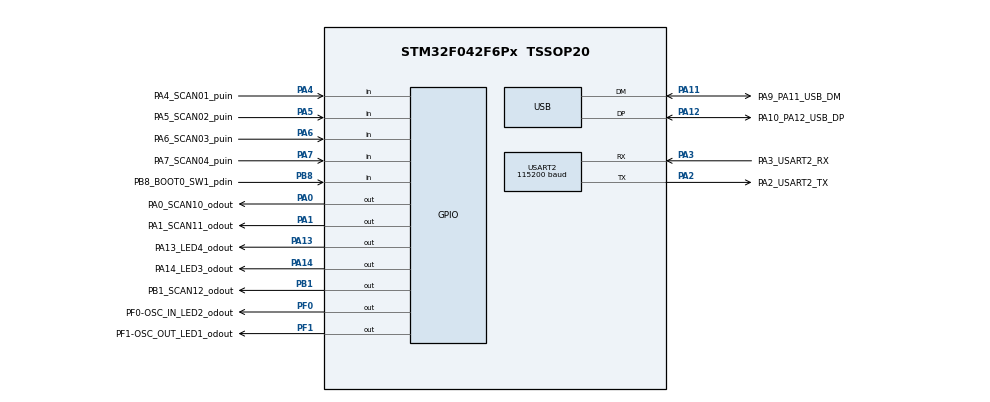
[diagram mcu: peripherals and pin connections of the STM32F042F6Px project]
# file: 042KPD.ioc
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Dma.Request0=USART2_RX
Dma.Request1=USART2_TX
Dma.USART2_RX.0.Direction=DMA_PERIPH_TO_MEMORY
Dma.USART2_RX.0.Instance=DMA1_Channel5
Dma.USART2_RX.0.MemDataAlignment=DMA_MDATAALIGN_BYTE
Dma.USART2_RX.0.MemInc=DMA_MINC_ENABLE
Dma.USART2_RX.0.Mode=DMA_CIRCULAR
Dma.USART2_RX.0.PeriphDataAlignment=DMA_PDATAALIGN_BYTE
Dma.USART2_RX.0.PeriphInc=DMA_PINC_DISABLE
Dma.USART2_RX.0.Priority=DMA_PRIORITY_LOW
Dma.USART2_TX.1.Direction=DMA_MEMORY_TO_PERIPH
Dma.USART2_TX.1.Instance=DMA1_Channel4
Dma.USART2_TX.1.MemDataAlignment=DMA_MDATAALIGN_BYTE
Dma.USART2_TX.1.MemInc=DMA_MINC_ENABLE
Dma.USART2_TX.1.Mode=DMA_NORMAL
Dma.USART2_TX.1.PeriphDataAlignment=DMA_PDATAALIGN_BYTE
Dma.USART2_TX.1.PeriphInc=DMA_PINC_DISABLE
Dma.USART2_TX.1.Priority=DMA_PRIORITY_LOW
Mcu.Family=STM32F0
Mcu.Name=STM32F042F6Px
Mcu.Package=TSSOP20
NVIC.DMA1_Channel4_5_IRQn=true\:0\:0\:false\:false\:true\:false\:true\:true
NVIC.USB_IRQn=true\:0\:0\:false\:false\:true\:false\:true\:true
PA0.GPIO_Label=PA0_SCAN10_odout
PA0.GPIO_ModeDefaultOutputPP=GPIO_MODE_OUTPUT_OD
PA0.GPIO_PuPd=GPIO_PULLUP
PA0.GPIO_Speed=GPIO_SPEED_FREQ_LOW
PA0.PinState=GPIO_PIN_RESET
PA0.Signal=GPIO_Output
PA1.GPIO_Label=PA1_SCAN11_odout
PA1.GPIO_ModeDefaultOutputPP=GPIO_MODE_OUTPUT_OD
PA1.GPIO_PuPd=GPIO_PULLUP
PA1.GPIO_Speed=GPIO_SPEED_FREQ_LOW
PA1.PinState=GPIO_PIN_SET
PA1.Signal=GPIO_Output
PA11.GPIO_Label=PA9_PA11_USB_DM
PA11.Mode=Device
PA11.Signal=USB_DM
PA12.GPIO_Label=PA10_PA12_USB_DP
PA12.Mode=Device
PA12.Signal=USB_DP
PA13.GPIO_Label=PA13_LED4_odout
PA13.GPIO_ModeDefaultOutputPP=GPIO_MODE_OUTPUT_OD
PA13.GPIO_PuPd=GPIO_NOPULL
PA13.Signal=GPIO_Output
PA14.GPIO_Label=PA14_LED3_odout
PA14.GPIO_ModeDefaultOutputPP=GPIO_MODE_OUTPUT_OD
PA14.GPIO_PuPd=GPIO_NOPULL
PA14.Signal=GPIO_Output
PA2.GPIO_Label=PA2_USART2_TX
PA2.Mode=Asynchronous
PA2.Signal=USART2_TX
PA3.GPIO_Label=PA3_USART2_RX
PA3.GPIO_PuPd=GPIO_PULLUP
PA3.Mode=Asynchronous
PA3.Signal=USART2_RX
PA4.GPIO_Label=PA4_SCAN01_puin
PA4.GPIO_PuPd=GPIO_PULLUP
PA4.Signal=GPIO_Input
PA5.GPIO_Label=PA5_SCAN02_puin
PA5.GPIO_PuPd=GPIO_PULLUP
PA5.Signal=GPIO_Input
PA6.GPIO_Label=PA6_SCAN03_puin
PA6.GPIO_PuPd=GPIO_PULLUP
PA6.Signal=GPIO_Input
PA7.GPIO_Label=PA7_SCAN04_puin
PA7.GPIO_PuPd=GPIO_PULLUP
PA7.Signal=GPIO_Input
PB1.GPIO_Label=PB1_SCAN12_odout
PB1.GPIO_ModeDefaultOutputPP=GPIO_MODE_OUTPUT_OD
PB1.GPIO_PuPd=GPIO_PULLUP
PB1.PinState=GPIO_PIN_SET
PB1.Signal=GPIO_Output
PB8.GPIO_Label=PB8_BOOT0_SW1_pdin
PB8.GPIO_PuPd=GPIO_PULLDOWN
PB8.Signal=GPIO_Input
PF0-OSC_IN.GPIO_Label=PF0-OSC_IN_LED2_odout
PF0-OSC_IN.GPIO_ModeDefaultOutputPP=GPIO_MODE_OUTPUT_OD
PF0-OSC_IN.GPIO_PuPd=GPIO_NOPULL
PF0-OSC_IN.Signal=GPIO_Output
PF1-OSC_OUT.GPIO_Label=PF1-OSC_OUT_LED1_odout
PF1-OSC_OUT.GPIO_ModeDefaultOutputPP=GPIO_MODE_OUTPUT_OD
PF1-OSC_OUT.GPIO_PuPd=GPIO_NOPULL
PF1-OSC_OUT.Signal=GPIO_Output
ProjectManager.HeapSize=0x200
ProjectManager.StackSize=0x400
ProjectManager.TargetToolchain=CMake
RCC.AHBFreq_Value=48000000
RCC.APB1Freq_Value=48000000
RCC.APB1TimFreq_Value=48000000
RCC.HCLKFreq_Value=48000000
RCC.PLLDivider=RCC_PREDIV_DIV2
RCC.PLLSourceVirtual=RCC_PLLSOURCE_HSI48
RCC.SYSCLKFreq_VALUE=48000000
RCC.SYSCLKSource=RCC_SYSCLKSOURCE_HSI48
RCC.TimSys_Div=SYSTICK_CLKSOURCE_HCLK_DIV8
USART2.BaudRate=115200
USART2.VirtualMode-Asynchronous=VM_ASYNC
USB_DEVICE.CLASS_NAME_FS=HID
USB_DEVICE.HID_FS_BINTERVAL=4
USB_DEVICE.MANUFACTURER_STRING=Raretem
USB_DEVICE.PRODUCT_STRING_HID_FS=Raretem USB keypad
USB_DEVICE.USBD_SELF_POWERED=0
USB_DEVICE.VirtualMode=Hid
USB_DEVICE.VirtualModeFS=Hid_FS
VP_CRC_VS_CRC.Mode=CRC_Activate
VP_RCC_USB.Mode=CRS SYNC Source USB
VP_SYS_VS_PINREMAP.Mode=PINREMAP
VP_USB_DEVICE_VS_USB_DEVICE_HID_FS.Mode=HID_FS
board=custom

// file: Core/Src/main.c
/* USER CODE BEGIN Header */
/**
 ******************************************************************************
 * @file           : main.c
 * @brief          : Main program body
 ******************************************************************************
 * @attention
 *
 * Copyright (c) 2026 STMicroelectronics.
 * All rights reserved.
 *
 * This software is licensed under terms that can be found in the LICENSE file
 * in the root directory of this software component.
 * If no LICENSE file comes with this software, it is provided AS-IS.
 *
 ******************************************************************************
 */
/* USER CODE END Header */
#include "main.h"
#include "gpio.h"
#include "usart.h"
#include "usb_device.h"

#include "buildDate.h"
#include "usbd_hid.h"

/* USER CODE BEGIN PV */
extern	volatile	USBD_HandleTypeDef	hUsbDeviceFS;

///	Human Interface Devices (HID) Specifications and Tools
///	https://www.usb.org/hid
/// 	https://usb.org/document-library/hid-usage-tables-17
///			https://usb.org/sites/default/files/hut1_7.pdf
uint8_t 	codeTable[3][12] = {
	{	0x49, 0x4a, 0x4b,		///	Ins    Home   PgUp
		0x4c, 0x4d, 0x4e,		///	Del    End    PgDn
		0xe0, 0x52, 0xe1,		///	Lctrl  ↑      Lshift
		0x50, 0x51, 0x4f	},	///	←      ↓      →

	{	0x24, 0x25, 0x26,		///	7&     8*     9(
		0x21, 0x22, 0x23,		///	4$     5%     6^
		0x1e, 0x1f, 0x20,		///	1!     2@     3#
		0x2a, 0x27, 0x28	},	///	BkSp   0)     Enter

	{	0x43, 0x44, 0x45,		///	F10    F11    F12
		0x40, 0x41, 0x42,		///	F7     F8     F9
		0x3d, 0x3e, 0x3f,		///	F4     F5     F6
		0x3a, 0x3b, 0x3c	},	///	F1     F2     F3
};

volatile	uint8_t 	usbSOFflag,	///	++ed in USB SOF (USBD_LL_SOF() in usbd_core.c)
						lockLED;	///	Num Lock, Caps Lock, Scroll Lock, ... (USBD_HID_Init(), usbdHIDdataOut() in usbd_hid.c)
uint8_t 	u8, v8, prevLled, scanline, kbuf[12], mbuf, keyMode, usartBuf[16];
uint16_t	keyStat, prevKstat;
uint32_t	sysID, eTme;
uint64_t	reportBuff;

/* USER CODE END PV */

void SystemClock_Config(void);

int main(void)
{

/* Reset of all peripherals, Initializes the Flash interface and the Systick. */
	HAL_Init();

/* Configure the system clock */
	SystemClock_Config();

/* USER CODE BEGIN SysInit */
	SysTick->CTRL = 0;	///	Disable sysTick
/* USER CODE END SysInit */

/* Initialize all configured peripherals */
	MX_GPIO_Init();	///	All LEDs ON, Prepare for first scan

	__HAL_RCC_DMA1_CLK_ENABLE();	///MX_DMA_Init();
	MX_USART2_UART_Init();
	usart2xmitDMA(bldatePtr, 35);	///	Greetings

	LL_AHB1_GRP1_EnableClock(LL_AHB1_GRP1_PERIPH_CRC);	///MX_CRC_Init();
	CRC->CR |= CRC_CR_RESET;
	while (CRC->CR & CRC_CR_RESET)
		__NOP();
	CRC->DR = *((uint32_t *)DBGMCU_BASE);
	CRC->DR = *((uint32_t *)(UID_BASE + 8));
	CRC->DR = *((uint32_t *)(UID_BASE + 4));
	CRC->DR = *((uint32_t *)(UID_BASE));
	sysID = CRC->DR;

	while (DMA1_Channel4->CNDTR)
		__NOP();
	MX_USB_DEVICE_Init();
	while (hUsbDeviceFS.dev_state != USBD_STATE_CONFIGURED)
		__NOP();

/* USER CODE BEGIN 2 */
	LL_GPIO_SetOutputPin(PF0_OSC_IN_LED2_odout_GPIO_Port, PF0_OSC_IN_LED2_odout_Pin);	///	LED2 off
	LL_GPIO_SetOutputPin(PA14_LED3_odout_GPIO_Port, PA14_LED3_odout_Pin);	///	LED3 off
	usartBuf[1] = usartBuf[8] = usartBuf[15] = ' ';
/* USER CODE END 2 */

/* Infinite loop */
/* USER CODE BEGIN WHILE */
	while (hUsbDeviceFS.dev_state != USBD_STATE_DEFAULT)
	{
		for (eTme = 0; !usbSOFflag; )
			if (eTme >= 0x400000)
				LL_GPIO_SetOutputPin(PA13_LED4_odout_GPIO_Port, PA13_LED4_odout_Pin);
			else
				eTme++;
/* USER CODE END WHILE */

		usbSOFflag--;
		LL_GPIO_TogglePin(PA13_LED4_odout_GPIO_Port, PA13_LED4_odout_Pin);

		///	Check lock LEDs
		if (prevLled != lockLED && !(DMA1_Channel4->CNDTR))
		{
			///	Notifies the status of the lock LEDs via USART2
			usartBuf[0] =
			usartBuf[2] =
			usartBuf[3] =
			usartBuf[13] =
			usartBuf[14] = ' ';

			usartBuf[4] = (lockLED & (1 << 0)) ? '#' : '~';	///	Num lock
			usartBuf[5] = (lockLED & (1 << 1)) ? '#' : '~';	///	Caps lock
			usartBuf[6] = (lockLED & (1 << 2)) ? '#' : '~';	///	Scroll lock
			usartBuf[7] = (lockLED & (1 << 3)) ? '#' : '~';
			usartBuf[9] = (lockLED & (1 << 4)) ? '#' : '~';
			usartBuf[10] = (lockLED & (1 << 5)) ? '#' : '~';
			usartBuf[11] = (lockLED & (1 << 6)) ? '#' : '~';
			usartBuf[12] = (lockLED & (1 << 7)) ? '#' : '~';
			usart2xmitDMA(usartBuf, 16);

			prevLled = lockLED;
		}

		///	Check mode button
		mbuf <<= 1;
		if (LL_GPIO_IsInputPinSet(PB8_BOOT0_SW1_pdin_GPIO_Port, PB8_BOOT0_SW1_pdin_Pin))
			mbuf |= 1;
		if (!mbuf)
			keyStat &= 0x7fff;
		else if (mbuf == 0xff && !(keyStat & 0x8000))
		{
			keyStat |= 0x8000;

			///	Keypad mode change (inc)
			switch (keyMode)
			{
				case 0:
					LL_GPIO_SetOutputPin(PF1_OSC_OUT_LED1_odout_GPIO_Port,
							PF1_OSC_OUT_LED1_odout_Pin);	///	LED1 off
					LL_GPIO_ResetOutputPin(PF0_OSC_IN_LED2_odout_GPIO_Port,
							PF0_OSC_IN_LED2_odout_Pin);	///	LED2 On
					keyMode++;
					break;
				case 1:
					LL_GPIO_SetOutputPin(PF0_OSC_IN_LED2_odout_GPIO_Port,
							PF0_OSC_IN_LED2_odout_Pin);	///	LED2 off
					LL_GPIO_ResetOutputPin(PA14_LED3_odout_GPIO_Port,
							PA14_LED3_odout_Pin);	///	LED3 On
					keyMode++;
					break;
				default:
					LL_GPIO_SetOutputPin(PA14_LED3_odout_GPIO_Port,
							PA14_LED3_odout_Pin);	///	LED3 off
					LL_GPIO_ResetOutputPin(PF1_OSC_OUT_LED1_odout_GPIO_Port,
							PF1_OSC_OUT_LED1_odout_Pin);	///	LED1 On
					keyMode = 0;
					break;
			}
		}

		///	Check USART2 Rx
		if (keyStat == prevKstat && (USART2->ISR & USART_ISR_RXNE))
		{
			if ((u8 = USART2->RDR) <= ' ')
			{
				if (!(DMA1_Channel4->CNDTR))
					usart2xmitDMA(bldatePtr, 35);	///	Notifies firmware information via USART2
			}
			else if (u8 & 1)	///	Keypad mode change (inc)
			{
				switch (keyMode)
				{
					case 0:
						LL_GPIO_SetOutputPin(PF1_OSC_OUT_LED1_odout_GPIO_Port,
								PF1_OSC_OUT_LED1_odout_Pin);	///	LED1 off
						LL_GPIO_ResetOutputPin(PF0_OSC_IN_LED2_odout_GPIO_Port,
								PF0_OSC_IN_LED2_odout_Pin);	///	LED2 On
						keyMode++;
						break;
					case 1:
						LL_GPIO_SetOutputPin(PF0_OSC_IN_LED2_odout_GPIO_Port,
								PF0_OSC_IN_LED2_odout_Pin);	///	LED2 off
						LL_GPIO_ResetOutputPin(PA14_LED3_odout_GPIO_Port,
								PA14_LED3_odout_Pin);	///	LED3 On
						keyMode++;
						break;
					default:
						LL_GPIO_SetOutputPin(PA14_LED3_odout_GPIO_Port,
								PA14_LED3_odout_Pin);	///	LED3 off
						LL_GPIO_ResetOutputPin(PF1_OSC_OUT_LED1_odout_GPIO_Port,
								PF1_OSC_OUT_LED1_odout_Pin);	///	LED1 On
						keyMode = 0;
						break;
				}
			}
			else	///	Keypad mode change (dec)
			{
				switch (keyMode)
				{
					case 0:
						LL_GPIO_SetOutputPin(PF1_OSC_OUT_LED1_odout_GPIO_Port,
								PF1_OSC_OUT_LED1_odout_Pin);	///	LED1 off
						LL_GPIO_ResetOutputPin(PA14_LED3_odout_GPIO_Port,
								PA14_LED3_odout_Pin);	///	LED3 On
						keyMode = 2;
						break;
					case 1:
						LL_GPIO_SetOutputPin(PF0_OSC_IN_LED2_odout_GPIO_Port,
								PF0_OSC_IN_LED2_odout_Pin);	///	LED2 off
						LL_GPIO_ResetOutputPin(PF1_OSC_OUT_LED1_odout_GPIO_Port,
								PF1_OSC_OUT_LED1_odout_Pin);	///	LED1 On
						keyMode--;
						break;
					default:
						LL_GPIO_SetOutputPin(PA14_LED3_odout_GPIO_Port,
								PA14_LED3_odout_Pin);	///	LED3 off
						LL_GPIO_ResetOutputPin(PF0_OSC_IN_LED2_odout_GPIO_Port,
								PF0_OSC_IN_LED2_odout_Pin);	///	LED2 On
						keyMode--;
						break;
				}
			}
		}

		///	Scan and check keys
		u8 = GPIOA->IDR;	///	LOW bit means the key is ON.
		switch (scanline)
		{
			case 0:
				///	Prepare for next scan
				LL_GPIO_SetOutputPin(PA0_SCAN10_odout_GPIO_Port, PA0_SCAN10_odout_Pin);
				LL_GPIO_ResetOutputPin(PA1_SCAN11_odout_GPIO_Port, PA1_SCAN11_odout_Pin);

				if ( !(kbuf[0] = ((kbuf[0] << 1) | (u8 & 0x10))) )			///	Row1,Col1: Ins
					keyStat |= (1 << 0);
				else if (kbuf[0] == 0xf0)
					keyStat &= ~(1 << 0);

				if ( !(kbuf[3] = ((kbuf[3] << 1) | ((u8 >> 1) & 0x10))) )	///	Row2,Col1: Del
					keyStat |= (1 << 3);
				else if (kbuf[3] == 0xf0)
					keyStat &= ~(1 << 3);

				if ( !(kbuf[6] = ((kbuf[6] << 1) | ((u8 >> 2) & 0x10))) )	///	Row3,Col1: Lctrl
					keyStat |= (1 << 6);
				else if (kbuf[6] == 0xf0)
					keyStat &= ~(1 << 6);

				if ( !(kbuf[9] = ((kbuf[9] << 1) | ((u8 >> 3) & 0x10))) )	///	Row4,Col1: ←
					keyStat |= (1 << 9);
				else if (kbuf[9] == 0xf0)
					keyStat &= ~(1 << 9);

				scanline++;
				break;

			case 1:
				///	Prepare for next scan
				LL_GPIO_SetOutputPin(PA1_SCAN11_odout_GPIO_Port, PA1_SCAN11_odout_Pin);
				LL_GPIO_ResetOutputPin(PB1_SCAN12_odout_GPIO_Port, PB1_SCAN12_odout_Pin);

				if ( !(kbuf[1] = ((kbuf[1] << 1) | (u8 & 0x10))) )			///	Row1,Col2: Home
					keyStat |= (1 << 1);
				else if (kbuf[1] == 0xf0)
					keyStat &= ~(1 << 1);

				if ( !(kbuf[4] = ((kbuf[4] << 1) | ((u8 >> 1) & 0x10))) )	///	Row2,Col2: End
					keyStat |= (1 << 4);
				else if (kbuf[4] == 0xf0)
					keyStat &= ~(1 << 4);

				if ( !(kbuf[7] = ((kbuf[7] << 1) | ((u8 >> 2) & 0x10))) )	///	Row3,Col2: ↑
					keyStat |= (1 << 7);
				else if (kbuf[7] == 0xf0)
					keyStat &= ~(1 << 7);

				if ( !(kbuf[10] = ((kbuf[10] << 1) | ((u8 >> 3) & 0x10))) )	///	Row4,Col2: ↓
					keyStat |= (1 << 10);
				else if (kbuf[10] == 0xf0)
					keyStat &= ~(1 << 10);

				scanline++;
				break;

			default:
				///	Prepare for next scan
				LL_GPIO_SetOutputPin(PB1_SCAN12_odout_GPIO_Port, PB1_SCAN12_odout_Pin);
				LL_GPIO_ResetOutputPin(PA0_SCAN10_odout_GPIO_Port, PA0_SCAN10_odout_Pin);

				if ( !(kbuf[2] = ((kbuf[2] << 1) | (u8 & 0x10))) )			///	Row1,Col3: PgUp
					keyStat |= (1 << 2);
				else if (kbuf[2] == 0xf0)
					keyStat &= ~(1 << 2);

				if ( !(kbuf[5] = ((kbuf[5] << 1) | ((u8 >> 1) & 0x10))) )	///	Row2,Col3: PgDn
					keyStat |= (1 << 5);
				else if (kbuf[5] == 0xf0)
					keyStat &= ~(1 << 5);

				if ( !(kbuf[8] = ((kbuf[8] << 1) | ((u8 >> 2) & 0x10))) )	///	Row3,Col3: Lshift
					keyStat |= (1 << 8);
				else if (kbuf[8] == 0xf0)
					keyStat &= ~(1 << 8);

				if ( !(kbuf[11] = ((kbuf[11] << 1) | ((u8 >> 3) & 0x10))) )	///	Row4,Col3: →
					keyStat |= (1 << 11);
				else if (kbuf[11] == 0xf0)
					keyStat &= ~(1 << 11);

				scanline = 0;
				break;
		}

		///	Check for report
		if (keyStat != prevKstat)
		{
			reportBuff = (uint64_t)0;
			for (u8 = 0, v8 = 2; u8 < 12 && v8 < (2 + 6); u8++)
			{
				if (keyStat & (1 << u8))
				{
					if (codeTable[keyMode][u8] >= 0xe0)	///	modifier
					{
						if (codeTable[keyMode][u8] <= 0xe7)
							((uint8_t *)&reportBuff)[0] |=
									1 << (codeTable[keyMode][u8] - 0xe0);
					}
					else
						((uint8_t *)&reportBuff)[v8++] = codeTable[keyMode][u8];
				}
			}
			if (u8 < 12)	///	Phantom state
			{
				((uint16_t *)&reportBuff)[1] = 0x0101;
				((uint32_t *)&reportBuff)[1] = 0x01010101;
			}

			while ( ((USBD_HID_HandleTypeDef *)hUsbDeviceFS.pClassData)
					->state != HID_IDLE )
				__NOP();
			USBD_HID_SendReport((USBD_HandleTypeDef *)&hUsbDeviceFS,
					(uint8_t *)&reportBuff, sizeof (reportBuff));

			if (!(DMA1_Channel4->CNDTR))
			{
				///	Reports the status of the keys to USART2
				if (u8 < 12)	///	Phantom state
					usartBuf[0] = (keyStat & 0x8000) ? '@' : '=';	///	Mode button
				else
					usartBuf[0] = (keyStat & 0x8000) ? '*' : '-';	///	Mode button
				usartBuf[2] = (keyStat & (1 << 0)) ? '0' : '-';
				usartBuf[3] = (keyStat & (1 << 1)) ? '1' : '-';
				usartBuf[4] = (keyStat & (1 << 2)) ? '2' : '-';
				usartBuf[5] = (keyStat & (1 << 3)) ? '3' : '-';
				usartBuf[6] = (keyStat & (1 << 4)) ? '4' : '-';
				usartBuf[7] = (keyStat & (1 << 5)) ? '5' : '-';
				usartBuf[9] = (keyStat & (1 << 6)) ? '6' : '-';
				usartBuf[10] = (keyStat & (1 << 7)) ? '7' : '-';
				usartBuf[11] = (keyStat & (1 << 8)) ? '8' : '-';
				usartBuf[12] = (keyStat & (1 << 9)) ? '9' : '-';
				usartBuf[13] = (keyStat & (1 << 10)) ? 'A' : '-';
				usartBuf[14] = (keyStat & (1 << 11)) ? 'B' : '-';
				usart2xmitDMA(usartBuf, 16);
			}

			prevKstat = keyStat;
		}

/* USER CODE BEGIN 3 */
	}

	__NOP();
	__disable_irq();
	__NOP();
	for (;;)
	{
		__NOP();
		NVIC_SystemReset();
		__NOP();
	}

/* USER CODE END 3 */
}

void SystemClock_Config(void)
{
	LL_FLASH_SetLatency(LL_FLASH_LATENCY_1);
	while (LL_FLASH_GetLatency() != LL_FLASH_LATENCY_1)
	{
	}
	LL_RCC_HSI48_Enable();

/* Wait till HSI48 is ready */
	while (LL_RCC_HSI48_IsReady() != 1)
	{
	}
	LL_RCC_SetAHBPrescaler(LL_RCC_SYSCLK_DIV_1);
	LL_RCC_SetAPB1Prescaler(LL_RCC_APB1_DIV_1);
	LL_RCC_SetSysClkSource(LL_RCC_SYS_CLKSOURCE_HSI48);

/* Wait till System clock is ready */
	while (LL_RCC_GetSysClkSource() != LL_RCC_SYS_CLKSOURCE_STATUS_HSI48)
	{
	}
	LL_SetSystemCoreClock(48000000);

/* Update the time base */
	if (HAL_InitTick(TICK_INT_PRIORITY) != HAL_OK)
	{
		Error_Handler(NULL);
	}
	LL_RCC_SetUSBClockSource(LL_RCC_USB_CLKSOURCE_HSI48);
	LL_CRS_SetSyncDivider(LL_CRS_SYNC_DIV_1);
	LL_CRS_SetSyncPolarity(LL_CRS_SYNC_POLARITY_RISING);
	LL_CRS_SetSyncSignalSource(LL_CRS_SYNC_SOURCE_USB);
	LL_CRS_SetFreqErrorLimit(34);
	LL_CRS_SetHSI48SmoothTrimming(32);

/* Select SysTick source clock */
	LL_SYSTICK_SetClkSource(LL_SYSTICK_CLKSOURCE_HCLK_DIV8);
}

static	uint16_t	errLen;
static	const	char	*errMsg;

void Error_Handler(const char *errWhere)
{
/* USER CODE BEGIN Error_Handler_Debug */
/* User can add his own implementation to report the HAL error return state */
	__disable_irq();

	LL_GPIO_ResetOutputPin(GPIOF,
			PF1_OSC_OUT_LED1_odout_Pin | PF0_OSC_IN_LED2_odout_Pin);	///	LED 1,2 On
	LL_GPIO_SetOutputPin(GPIOA,
			PA14_LED3_odout_Pin | PA13_LED4_odout_Pin);	///	LED 3,4 off

	if (errWhere)
		for (errMsg = errWhere, errLen = 0; *errMsg; errMsg++, errLen++)
			;	///	errLen = strlen(errWhere)
	else
		errLen = 0;

	if (errLen && !(DMA1_Channel4->CNDTR))
		usart2xmitDMA(errWhere, errLen);

	for (eTme = 0; ; )
	{
		if (!(++eTme & 0x1fffff))
		{
			LL_GPIO_TogglePin(GPIOF,
					PF1_OSC_OUT_LED1_odout_Pin | PF0_OSC_IN_LED2_odout_Pin);
			LL_GPIO_TogglePin(GPIOA,
					PA14_LED3_odout_Pin | PA13_LED4_odout_Pin);

			if (errLen && !(DMA1_Channel4->CNDTR))
				usart2xmitDMA(errWhere, errLen);
		}
	}
/* USER CODE END Error_Handler_Debug */
}
